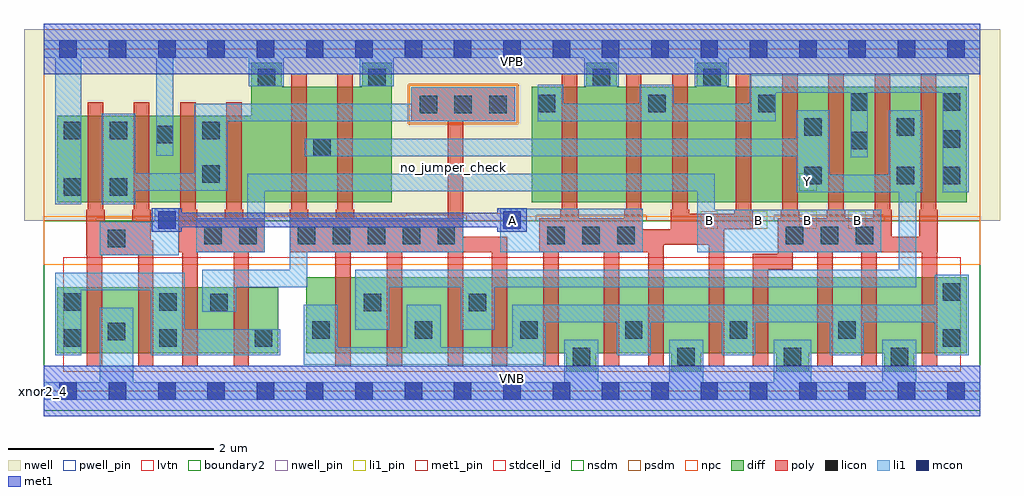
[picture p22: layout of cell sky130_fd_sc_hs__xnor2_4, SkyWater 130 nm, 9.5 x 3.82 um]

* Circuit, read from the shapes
.subckt sky130_fd_sc_hs__xnor2_4 A B VGND VNB VPB VPWR Y
XM1 VGND A n1 VNB sky130_fd_pr__nfet_01v8_lvt w=0.64 l=0.15 m=2
XM2 n2 B n1 VNB sky130_fd_pr__nfet_01v8_lvt w=0.64 l=0.15 m=2
XM3 Y n2 n3 VNB sky130_fd_pr__nfet_01v8_lvt w=0.74 l=0.15 m=4
XM4 VGND A n3 VNB sky130_fd_pr__nfet_01v8_lvt w=0.74 l=0.15 m=4
XM5 VGND B n3 VNB sky130_fd_pr__nfet_01v8_lvt w=0.74 l=0.15 m=4
XM6 n2 A VPWR VPB sky130_fd_pr__pfet_01v8 w=0.84 l=0.15 m=2
XM7 n2 B VPWR VPB sky130_fd_pr__pfet_01v8 w=0.84 l=0.15 m=2
XM8 Y n2 VPWR VPB sky130_fd_pr__pfet_01v8 w=1.12 l=0.15 m=2
XM9 VPWR A n4 VPB sky130_fd_pr__pfet_01v8 w=1.12 l=0.15 m=4
XM10 Y B n4 VPB sky130_fd_pr__pfet_01v8 w=1.12 l=0.15 m=4
.ends

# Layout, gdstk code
import gdstk
lib = gdstk.Library(unit=1e-6, precision=1e-09)
def R(c, l, rs):  # rectangles x0, y0, x1, y1
    for r in rs: c.add(gdstk.rectangle(r[:2], r[2:], *l))
def A(c, l, x, y, w, h, nx, ny, dx, dy):  # array of equal rectangles
    R(c, l, [(x+i*dx, y+j*dy, x+i*dx+w, y+j*dy+h) for i in range(nx) for j in range(ny)])
def P(c, l, *ps):  # polygons
    for p in ps: c.add(gdstk.Polygon(p, *l))
nwell_pin = (64, 16)
nwell = (64, 20)
diff = (65, 20)
poly = (66, 20)
licon = (66, 44)
li1_pin = (67, 16)
li1 = (67, 20)
mcon = (67, 44)
met1_pin = (68, 16)
met1 = (68, 20)
stdcell_id = (81, 4)
nsdm = (93, 44)
psdm = (94, 20)
npc = (95, 20)
pwell_pin = (122, 16)
lvtn = (125, 44)
boundary2 = (236, 0)

sky130_fd_sc_hs__xnor2_4 = lib.new_cell('sky130_fd_sc_hs__xnor2_4')
R(sky130_fd_sc_hs__xnor2_4, nwell_pin, [(0,3.085,9.12,3.33)])
R(sky130_fd_sc_hs__xnor2_4, nwell, [(-0.19,1.66,9.31,3.52)])
R(sky130_fd_sc_hs__xnor2_4, diff, [(0.135,0.37,2.285,1.01)])
P(sky130_fd_sc_hs__xnor2_4, diff, [(3.39,3.195),(3.1,3.195),(3.1,2.96),(2.32,2.96),(2.32,3.195),(2.02,3.195),(2.02,2.68),(0.135,2.68),(0.135,1.84),(3.39,1.84)],
  [(8.985,2.96),(6.65,2.96),(6.65,3.195),(6.36,3.195),(6.36,2.96),(5.58,2.96),(5.58,3.195),(5.285,3.195),(5.285,2.96),(4.75,2.96),(4.75,1.84),(8.985,1.84)],
  [(8.985,1.11),(2.555,1.11),(2.555,0.37),(5.09,0.37),(5.09,0.19),(5.38,0.19),(5.38,0.37),(6.11,0.37),(6.11,0.19),(6.4,0.19),(6.4,0.37),(7.13,0.37),(7.13,0.19),(7.455,0.19),(7.455,0.37),(8.185,0.37),(8.185,0.19),(8.475,0.19),(8.475,0.37),(8.985,0.37)])
P(sky130_fd_sc_hs__xnor2_4, poly, [(6.905,1.765),(6.89,1.765),(6.89,3.09),(6.74,3.09),(6.74,1.765),(6.725,1.765),(6.725,1.725),(6.285,1.725),(6.285,1.765),(6.27,1.765),(6.27,3.09),(6.12,3.09),(6.12,1.765),(6.105,1.765),(6.105,1.575),(5.835,1.575),(5.835,1.765),(5.82,1.765),(5.82,3.09),(5.67,3.09),(5.67,1.765),(5.655,1.765),(5.655,1.68),(5.21,1.68),(5.21,1.765),(5.195,1.765),(5.195,3.09),(5.045,3.09),(5.045,1.765),(5.03,1.765),(5.03,1.68),(4.825,1.68),(4.825,1.35),(4.865,1.35),(4.865,0.24),(5.015,0.24),(5.015,1.35),(5.455,1.35),(5.455,0.24),(5.605,0.24),(5.605,1.35),(5.885,1.35),(5.885,0.24),(6.035,0.24),(6.035,1.425),(6.475,1.425),(6.475,0.24),(6.625,0.24),(6.625,1.575),(6.905,1.575)],
  [(8.705,1.765),(8.69,1.765),(8.69,3.09),(8.54,3.09),(8.54,1.765),(8.525,1.765),(8.525,1.5),(8.255,1.5),(8.255,1.765),(8.24,1.765),(8.24,3.09),(8.09,3.09),(8.09,1.765),(8.075,1.765),(8.075,1.68),(7.805,1.68),(7.805,1.765),(7.79,1.765),(7.79,3.09),(7.64,3.09),(7.64,1.765),(7.625,1.765),(7.625,1.68),(7.355,1.68),(7.355,1.765),(7.34,1.765),(7.34,3.09),(7.19,3.09),(7.19,1.765),(7.175,1.765),(7.175,1.68),(7.145,1.68),(7.145,1.335),(6.905,1.335),(6.905,0.24),(7.055,0.24),(7.055,1.185),(7.295,1.185),(7.295,1.35),(7.53,1.35),(7.53,0.24),(7.68,0.24),(7.68,1.35),(7.96,1.35),(7.96,0.24),(8.11,0.24),(8.11,1.35),(8.55,1.35),(8.55,0.24),(8.7,0.24),(8.7,1.35),(8.705,1.35)],
  [(1.07,1.47),(1.045,1.47),(1.045,1.765),(1.03,1.765),(1.03,2.81),(0.88,2.81),(0.88,1.765),(0.865,1.765),(0.865,1.65),(0.595,1.65),(0.595,1.765),(0.58,1.765),(0.58,2.81),(0.43,2.81),(0.43,1.765),(0.415,1.765),(0.415,1.32),(0.42,1.32),(0.42,0.24),(0.57,0.24),(0.57,1.32),(0.92,1.32),(0.92,0.24),(1.07,0.24)],
  [(2.155,1.68),(1.945,1.68),(1.945,1.765),(1.93,1.765),(1.93,2.81),(1.78,2.81),(1.78,1.765),(1.765,1.765),(1.765,1.68),(1.495,1.68),(1.495,1.765),(1.48,1.765),(1.48,2.81),(1.33,2.81),(1.33,1.765),(1.315,1.765),(1.315,1.35),(1.35,1.35),(1.35,0.24),(1.5,0.24),(1.5,1.35),(1.85,1.35),(1.85,0.24),(2,0.24),(2,1.35),(2.155,1.35)],
  [(4.59,2.955),(3.58,2.955),(3.58,2.625),(3.935,2.625),(3.935,1.68),(3.025,1.68),(3.025,1.765),(3.01,1.765),(3.01,3.09),(2.86,3.09),(2.86,1.765),(2.845,1.765),(2.845,1.68),(2.575,1.68),(2.575,1.765),(2.56,1.765),(2.56,3.09),(2.41,3.09),(2.41,1.765),(2.395,1.765),(2.395,1.35),(2.84,1.35),(2.84,0.24),(2.99,0.24),(2.99,1.35),(3.34,1.35),(3.34,0.24),(3.49,0.24),(3.49,1.35),(3.935,1.35),(3.935,0.24),(4.085,0.24),(4.085,1.35),(4.365,1.35),(4.365,0.24),(4.515,0.24),(4.515,1.5),(4.085,1.5),(4.085,2.625),(4.59,2.625)])
A(sky130_fd_sc_hs__xnor2_4, licon, 0.195, 0.43, 0.17, 0.17, 3, 1, 0.93, 0)
A(sky130_fd_sc_hs__xnor2_4, licon, 4.64, 0.51, 0.17, 0.17, 3, 1, 1.02, 0)
A(sky130_fd_sc_hs__xnor2_4, licon, 2.475, 1.43, 0.17, 0.17, 5, 1, 0.34, 0)
A(sky130_fd_sc_hs__xnor2_4, licon, 4.905, 1.43, 0.17, 0.17, 3, 1, 0.34, 0)
A(sky130_fd_sc_hs__xnor2_4, licon, 7.225, 1.43, 0.17, 0.17, 3, 1, 0.34, 0)
A(sky130_fd_sc_hs__xnor2_4, licon, 3.66, 2.705, 0.17, 0.17, 3, 1, 0.34, 0)
R(sky130_fd_sc_hs__xnor2_4, licon, [(5.15,0.25,5.32,0.42), (6.17,0.25,6.34,0.42), (7.205,0.25,7.375,0.42), (8.245,0.25,8.415,0.42), (8.755,0.43,8.925,0.6), (0.625,0.495,0.795,0.665), (2.615,0.51,2.785,0.68), (3.615,0.51,3.785,0.68), (7.735,0.51,7.905,0.68), (1.625,0.775,1.795,0.945), (3.115,0.775,3.285,0.945), (4.14,0.775,4.31,0.945), (0.195,0.78,0.365,0.95), (1.125,0.78,1.295,0.95), (8.755,0.88,8.925,1.05), (0.625,1.4,0.795,1.57), (1.565,1.43,1.735,1.6), (1.905,1.43,2.075,1.6), (0.195,1.9,0.365,2.07), (0.645,1.9,0.815,2.07), (7.405,2.015,7.575,2.185), (8.305,2.015,8.475,2.185), (8.755,2.015,8.925,2.185), (1.545,2.03,1.715,2.2), (2.625,2.285,2.795,2.455), (7.855,2.355,8.025,2.525), (8.755,2.37,8.925,2.54), (1.095,2.41,1.265,2.58), (0.195,2.45,0.365,2.62), (0.645,2.45,0.815,2.62), (1.545,2.45,1.715,2.62), (7.405,2.485,7.575,2.655), (8.305,2.485,8.475,2.655), (4.81,2.715,4.98,2.885), (5.885,2.715,6.055,2.885), (6.955,2.715,7.125,2.885), (7.855,2.73,8.025,2.9), (8.755,2.73,8.925,2.9), (2.085,2.965,2.255,3.135), (3.16,2.965,3.33,3.135), (5.345,2.965,5.515,3.135), (6.42,2.965,6.59,3.135)])
A(sky130_fd_sc_hs__xnor2_4, li1_pin, 6.395, 1.58, 0.17, 0.17, 4, 1, 0.48, 0)
R(sky130_fd_sc_hs__xnor2_4, li1_pin, [(4.475,1.58,4.645,1.75), (7.355,1.95,7.525,2.12)])
R(sky130_fd_sc_hs__xnor2_4, li1, [(4.445,1.35,5.835,1.775)])
P(sky130_fd_sc_hs__xnor2_4, li1, [(0,-0.085),(0,0.085),(0.545,0.085),(0.545,0.81),(0.875,0.81),(0.875,0.085),(5.07,0.085),(5.07,0.5),(5.4,0.5),(5.4,0.085),(6.09,0.085),(6.09,0.5),(6.42,0.5),(6.42,0.085),(7.11,0.085),(7.11,0.5),(7.475,0.5),(7.475,0.085),(8.165,0.085),(8.165,0.5),(8.495,0.5),(8.495,0.085),(9.12,0.085),(9.12,-0.085)],
  [(0,3.245),(0,3.415),(9.12,3.415),(9.12,3.245),(6.67,3.245),(6.67,2.965),(6.34,2.965),(6.34,3.245),(5.6,3.245),(5.6,2.965),(5.265,2.965),(5.265,3.245),(3.41,3.245),(3.41,2.965),(3.08,2.965),(3.08,3.245),(2.34,3.245),(2.34,2.965),(2,2.965),(2,3.245),(1.265,3.245),(1.265,2.29),(1.095,2.29),(1.095,3.245),(0.365,3.245),(0.365,1.82),(0.115,1.82),(0.115,3.245)],
  [(7.325,1.935),(7.325,2.285),(2.545,2.285),(2.545,2.455),(7.325,2.455),(7.325,2.735),(7.655,2.735),(7.655,2.105),(8.225,2.105),(8.225,2.735),(8.555,2.735),(8.555,1.935),(8.495,1.935),(8.495,1.01),(4.39,1.01),(4.39,0.595),(4.06,0.595),(4.06,1.01),(3.365,1.01),(3.365,0.595),(3.035,0.595),(3.035,1.18),(8.325,1.18),(8.325,1.935)],
  [(6.535,1.765),(8.155,1.765),(8.155,1.35),(6.365,1.35),(6.365,1.945),(2.155,1.945),(2.155,1.35),(1.485,1.35),(1.485,1.68),(1.985,1.68),(1.985,2.115),(6.535,2.115)],
  [(9.005,3.075),(9.005,1.935),(8.755,1.935),(8.755,2.905),(8.025,2.905),(8.025,2.275),(7.855,2.275),(7.855,2.905),(7.125,2.905),(7.125,2.625),(4.81,2.625),(4.81,2.98),(5.06,2.98),(5.06,2.795),(5.805,2.795),(5.805,2.98),(6.135,2.98),(6.135,2.795),(6.875,2.795),(6.875,3.075)],
  [(0.895,2.12),(1.465,2.12),(1.465,2.795),(3.58,2.795),(3.58,2.955),(4.59,2.955),(4.59,2.625),(1.795,2.625),(1.795,1.95),(0.895,1.95),(0.895,1.82),(0.565,1.82),(0.565,2.7),(0.895,2.7)],
  [(2.865,0.425),(3.535,0.425),(3.535,0.84),(3.865,0.84),(3.865,0.425),(4.56,0.425),(4.56,0.84),(8.675,0.84),(8.675,1.13),(9.005,1.13),(9.005,0.35),(8.675,0.35),(8.675,0.67),(7.985,0.67),(7.985,0.35),(7.655,0.35),(7.655,0.67),(6.93,0.67),(6.93,0.35),(6.6,0.35),(6.6,0.67),(5.91,0.67),(5.91,0.35),(5.58,0.35),(5.58,0.67),(4.89,0.67),(4.89,0.255),(2.535,0.255),(2.535,0.84),(2.865,0.84)],
  [(2.565,1.01),(1.875,1.01),(1.875,0.77),(1.545,0.77),(1.545,1.18),(2.395,1.18),(2.395,1.68),(4.085,1.68),(4.085,1.35),(2.565,1.35)],
  [(0.545,1.32),(0.545,1.65),(1.085,1.65),(1.085,1.78),(1.315,1.78),(1.315,1.32)],
  [(1.045,0.35),(1.045,0.98),(0.365,0.98),(0.365,0.35),(0.115,0.35),(0.115,1.15),(1.375,1.15),(1.375,0.6),(2.305,0.6),(2.305,0.35)])
A(sky130_fd_sc_hs__xnor2_4, mcon, 0.155, -0.085, 0.17, 0.17, 19, 2, 0.48, 3.33)
R(sky130_fd_sc_hs__xnor2_4, mcon, [(1.115,1.58,1.285,1.75), (4.475,1.58,4.645,1.75)])
R(sky130_fd_sc_hs__xnor2_4, met1_pin, [(0,0,9.12,0.245), (0,3.085,9.12,3.33)])
R(sky130_fd_sc_hs__xnor2_4, met1, [(0,-0.245,9.12,0.245), (0,3.085,9.12,3.575)])
P(sky130_fd_sc_hs__xnor2_4, met1, [(1.345,1.735),(4.415,1.735),(4.415,1.78),(4.705,1.78),(4.705,1.55),(4.415,1.55),(4.415,1.595),(1.345,1.595),(1.345,1.55),(1.055,1.55),(1.055,1.78),(1.345,1.78)])
R(sky130_fd_sc_hs__xnor2_4, stdcell_id, [(0,0,9.12,3.33)])
R(sky130_fd_sc_hs__xnor2_4, nsdm, [(0,-0.19,9.12,1.66)])
P(sky130_fd_sc_hs__xnor2_4, psdm, [(9.12,3.52),(4.62,3.52),(4.62,2.595),(3.55,2.595),(3.55,2.985),(4.62,2.985),(4.62,3.52),(0,3.52),(0,1.66),(0.515,1.66),(0.515,1.68),(0.905,1.68),(0.905,1.66),(1.455,1.66),(1.455,1.71),(4.115,1.71),(4.115,1.66),(4.795,1.66),(4.795,1.71),(5.865,1.71),(5.865,1.66),(7.115,1.66),(7.115,1.71),(8.185,1.71),(8.185,1.66),(9.12,1.66)])
R(sky130_fd_sc_hs__xnor2_4, npc, [(3.56,2.605,4.61,2.975)])
P(sky130_fd_sc_hs__xnor2_4, npc, [(9.12,1.7),(4.61,1.7),(4.61,1.73),(3.53,1.73),(3.53,1.7),(0,1.7),(0,1.23),(9.12,1.23)])
R(sky130_fd_sc_hs__xnor2_4, pwell_pin, [(0,0,9.12,0.245)])
R(sky130_fd_sc_hs__xnor2_4, lvtn, [(0.19,0.19,8.93,1.3)])
R(sky130_fd_sc_hs__xnor2_4, boundary2, [(0,0,9.12,3.33)])
sky130_fd_sc_hs__xnor2_4.add(gdstk.Label('xnor2_4', (0,0), layer=83, texttype=44))
sky130_fd_sc_hs__xnor2_4.add(gdstk.Label('no_jumper_check', (3.995,2.18), layer=83, texttype=44))
sky130_fd_sc_hs__xnor2_4.add(gdstk.Label('VNB', (4.56,0.123), layer=64, texttype=59))
sky130_fd_sc_hs__xnor2_4.add(gdstk.Label('VPB', (4.56,3.208), layer=64, texttype=5))
sky130_fd_sc_hs__xnor2_4.add(gdstk.Label('VPWR', (4.56,3.208), layer=68, texttype=5))
sky130_fd_sc_hs__xnor2_4.add(gdstk.Label('VGND', (4.56,0.123), layer=68, texttype=5))
sky130_fd_sc_hs__xnor2_4.add(gdstk.Label('Y', (7.44,2.035), layer=67, texttype=5))
sky130_fd_sc_hs__xnor2_4.add(gdstk.Label('B', (6.48,1.665), layer=67, texttype=5))
sky130_fd_sc_hs__xnor2_4.add(gdstk.Label('B', (6.96,1.665), layer=67, texttype=5))
sky130_fd_sc_hs__xnor2_4.add(gdstk.Label('B', (7.44,1.665), layer=67, texttype=5))
sky130_fd_sc_hs__xnor2_4.add(gdstk.Label('B', (7.92,1.665), layer=67, texttype=5))
sky130_fd_sc_hs__xnor2_4.add(gdstk.Label('A', (4.56,1.665), layer=67, texttype=5))

lib.write_gds('sky130_fd_sc_hs__xnor2_4.gds')
